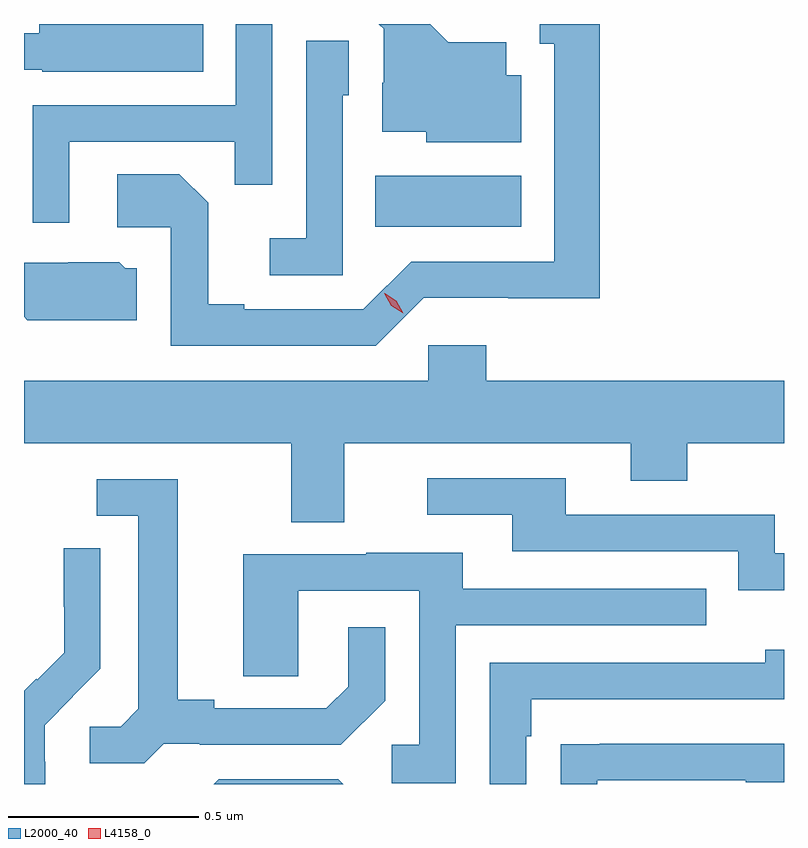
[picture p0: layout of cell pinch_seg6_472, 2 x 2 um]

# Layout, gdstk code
import gdstk
lib = gdstk.Library(unit=1e-6, precision=1e-09)
def R(c, l, rs):  # rectangles x0, y0, x1, y1
    for r in rs: c.add(gdstk.rectangle(r[:2], r[2:], *l))
def P(c, l, *ps):  # polygons
    for p in ps: c.add(gdstk.Polygon(p, *l))
L2000_40 = (2000, 40)
L4158_0 = (4158, 0)

pinch_seg6_472 = lib.new_cell('pinch_seg6_472')
R(pinch_seg6_472, L2000_40, [(731.218,923.93,731.602,924.064)])
P(pinch_seg6_472, L2000_40, [(730.413,924.153),(730.849,924.153),(730.849,924.04),(730.947,924.04),(730.947,924.463),(730.851,924.463),(730.851,924.249),(730.317,924.249),(730.317,923.94),(730.413,923.94)],
  [(731.602,924.328),(731.563,924.328),(731.563,924.415),(731.411,924.415),(731.363,924.463),(731.228,924.463),(731.241,924.45),(731.241,924.308),(731.237,924.308),(731.237,924.179),(731.352,924.179),(731.352,924.152),(731.602,924.152)],
  [(730.766,924.463),(730.334,924.463),(730.334,924.439),(730.294,924.439),(730.294,924.342),(730.342,924.342),(730.342,924.338),(730.766,924.338)],
  [(731.346,923.742),(731.568,923.742),(731.568,923.741),(731.809,923.741),(731.809,924.463),(731.651,924.463),(731.651,924.411),(731.69,924.411),(731.69,923.838),(731.313,923.838),(731.187,923.712),(730.873,923.712),(730.873,923.725),(730.779,923.725),(730.779,923.992),(730.703,924.068),(730.539,924.068),(730.539,923.928),(730.68,923.928),(730.68,923.616),(731.22,923.616)],
  [(731.133,924.276),(731.148,924.276),(731.148,924.419),(731.037,924.419),(731.037,923.899),(730.941,923.899),(730.941,923.802),(731.133,923.802)],
  [(730.591,923.82),(730.56,923.82),(730.544,923.836),(730.41,923.836),(730.41,923.835),(730.294,923.835),(730.294,923.693),(730.303,923.684),(730.591,923.684)],
  [(731.137,923.36),(731.891,923.36),(731.891,923.261),(732.039,923.261),(732.039,923.36),(732.294,923.36),(732.294,923.524),(731.51,923.524),(731.51,923.617),(731.358,923.617),(731.358,923.524),(730.294,923.524),(730.294,923.36),(730.997,923.36),(730.997,923.152),(731.137,923.152)],
  [(732.294,923.07),(732.27,923.07),(732.27,923.172),(731.719,923.172),(731.719,923.268),(731.355,923.268),(731.355,923.172),(731.579,923.172),(731.579,923.076),(732.174,923.076),(732.174,922.973),(732.294,922.973)],
  [(730.662,922.569),(730.756,922.569),(730.756,922.566),(731.128,922.566),(731.244,922.682),(731.244,922.876),(731.147,922.876),(731.147,922.719),(731.09,922.662),(730.795,922.662),(730.795,922.685),(730.699,922.685),(730.699,923.265),(730.485,923.265),(730.485,923.169),(730.595,923.169),(730.595,922.661),(730.548,922.614),(730.467,922.614),(730.467,922.517),(730.61,922.517)],
  [(730.35,922.521),(730.348,922.521),(730.348,922.618),(730.422,922.692),(730.421,922.693),(730.494,922.766),(730.494,923.084),(730.398,923.084),(730.398,922.93),(730.4,922.93),(730.4,922.808),(730.329,922.737),(730.326,922.74),(730.294,922.708),(730.294,922.463),(730.35,922.463)],
  [(731.43,922.881),(732.089,922.881),(732.089,922.977),(731.449,922.977),(731.449,923.071),(731.195,923.071),(731.195,923.067),(730.871,923.067),(730.871,922.747),(731.016,922.747),(731.016,922.971),(731.334,922.971),(731.334,922.566),(731.262,922.566),(731.262,922.465),(731.43,922.465)],
  [(731.616,922.589),(731.629,922.589),(731.629,922.686),(732.294,922.686),(732.294,922.816),(732.245,922.816),(732.245,922.782),(731.52,922.782),(731.52,922.463),(731.616,922.463)],
  [(731.803,922.473),(732.193,922.473),(732.193,922.468),(732.294,922.468),(732.294,922.569),(731.809,922.569),(731.809,922.568),(731.707,922.568),(731.707,922.463),(731.803,922.463)],
  [(731.121,922.476),(730.806,922.476),(730.793,922.463),(731.134,922.463)])
P(pinch_seg6_472, L4158_0, [(731.292,923.702),(731.26,923.721),(731.242,923.754),(731.242,923.754),(731.243,923.754),(731.274,923.735),(731.292,923.702),(731.292,923.702)])

lib.write_gds('pinch_seg6_472.gds')
